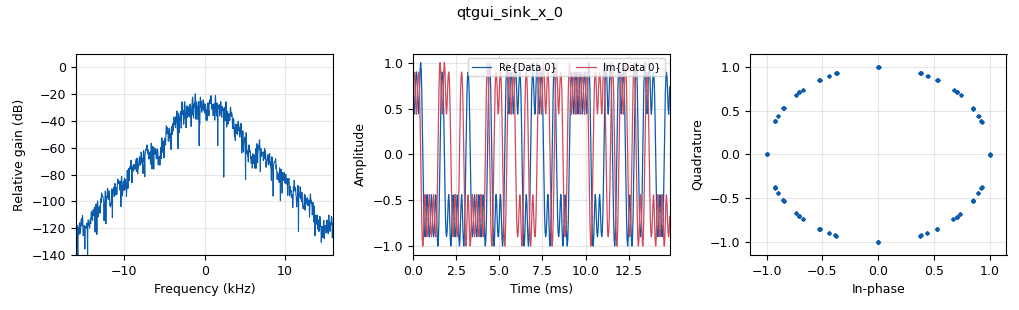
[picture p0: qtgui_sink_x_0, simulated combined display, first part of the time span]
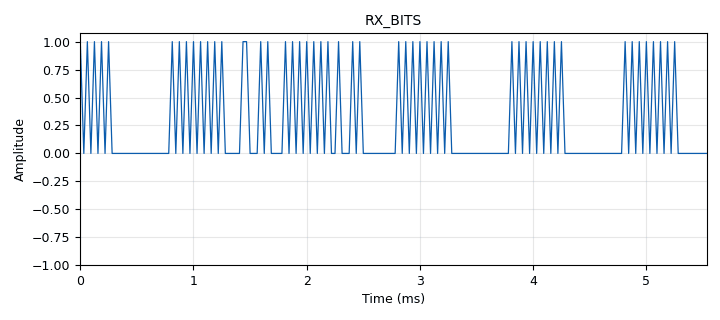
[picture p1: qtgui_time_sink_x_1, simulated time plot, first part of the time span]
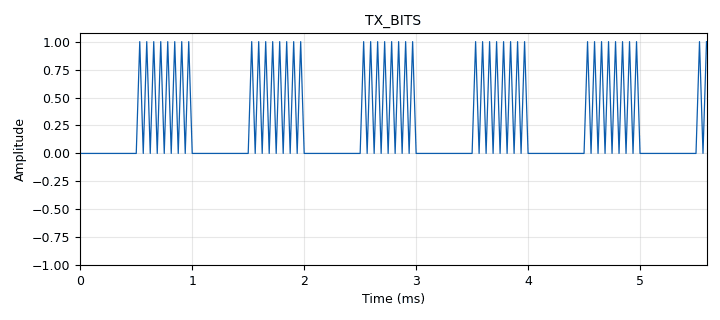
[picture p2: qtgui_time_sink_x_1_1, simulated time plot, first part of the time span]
<?xml version='1.0' encoding='utf-8'?>
<?grc format='1' created='3.7.13'?>
<flow_graph>
<block>
<key>options</key>
<param><key>id</key><value>gfsk_loopback</value></param>
<param><key>category</key><value>Custom</value></param>
<param><key>generate_options</key><value>qt_gui</value></param>
</block>
<block>
<key>variable_tpc_decoder_def</key>
<param><key>id</key><value>dec</value></param>
<param><key>bval</key><value>9</value></param>
<param><key>col_poly</key><value>[43]</value></param>
<param><key>decoder_type</key><value>0</value></param>
<param><key>kcol</key><value>6</value></param>
<param><key>krow</key><value>26</value></param>
<param><key>max_iter</key><value>6</value></param>
<param><key>ndim</key><value>0</value></param>
<param><key>qval</key><value>3</value></param>
<param><key>row_poly</key><value>[3]</value></param>
</block>
<block>
<key>variable_tpc_encoder_def</key>
<param><key>id</key><value>enc</value></param>
<param><key>bval</key><value>9</value></param>
<param><key>col_poly</key><value>[43]</value></param>
<param><key>kcol</key><value>6</value></param>
<param><key>krow</key><value>26</value></param>
<param><key>ndim</key><value>0</value></param>
<param><key>qval</key><value>3</value></param>
<param><key>row_poly</key><value>[3]</value></param>
</block>
<block>
<key>variable_qtgui_range</key>
<param><key>id</key><value>fm_sensitivity</value></param>
<param><key>value</key><value>1</value></param>
<param><key>orient</key><value>Qt.Horizontal</value></param>
<param><key>start</key><value>0</value></param>
<param><key>step</key><value>0.01</value></param>
<param><key>stop</key><value>10</value></param>
</block>
<block>
<key>variable</key>
<param><key>id</key><value>samp_rate</value></param>
<param><key>value</key><value>32000</value></param>
</block>
<block>
<key>variable</key>
<param><key>id</key><value>sps</value></param>
<param><key>value</key><value>8</value></param>
</block>
<block>
<key>blocks_char_to_float</key>
<param><key>id</key><value>blocks_char_to_float_0</value></param>
<param><key>scale</key><value>1</value></param>
</block>
<block>
<key>blocks_char_to_float</key>
<param><key>id</key><value>blocks_char_to_float_0_0</value></param>
<param><key>scale</key><value>1</value></param>
</block>
<block>
<key>blocks_char_to_float</key>
<param><key>id</key><value>blocks_char_to_float_0_1</value></param>
<param><key>scale</key><value>1</value></param>
</block>
<block>
<key>blocks_pack_k_bits_bb</key>
<param><key>id</key><value>blocks_pack_k_bits_bb_0</value></param>
<param><key>k</key><value>8</value></param>
</block>
<block>
<key>blocks_throttle</key>
<param><key>id</key><value>blocks_throttle_0_0</value></param>
<param><key>samples_per_second</key><value>samp_rate</value></param>
<param><key>type</key><value>complex</value></param>
</block>
<block>
<key>blocks_unpack_k_bits_bb</key>
<param><key>id</key><value>blocks_unpack_k_bits_bb_0</value></param>
<param><key>k</key><value>8</value></param>
</block>
<block>
<key>blocks_vector_source_x</key>
<param><key>id</key><value>blocks_vector_source_x_0</value></param>
<param><key>type</key><value>byte</value></param>
<param><key>repeat</key><value>True</value></param>
<param><key>vector</key><value>(0, 0, 0x55, 0x55)</value></param>
</block>
<block>
<key>digital_descrambler_bb</key>
<param><key>id</key><value>digital_descrambler_bb_0</value></param>
<param><key>len</key><value>7</value></param>
<param><key>mask</key><value>0x8A</value></param>
<param><key>seed</key><value>0x7F</value></param>
</block>
<block>
<key>digital_gmsk_demod</key>
<param><key>id</key><value>digital_gmsk_demod_0</value></param>
<param><key>freq_error</key><value>0.0</value></param>
<param><key>gain_mu</key><value>0.175</value></param>
<param><key>mu</key><value>0.5</value></param>
<param><key>omega_relative_limit</key><value>0.005</value></param>
<param><key>samples_per_symbol</key><value>4</value></param>
</block>
<block>
<key>digital_gmsk_mod</key>
<param><key>id</key><value>digital_gmsk_mod_0</value></param>
<param><key>bt</key><value>0.35</value></param>
<param><key>samples_per_symbol</key><value>4</value></param>
</block>
<block>
<key>digital_map_bb</key>
<param><key>id</key><value>digital_map_bb_0</value></param>
<param><key>map</key><value>[-1, 1]</value></param>
</block>
<block>
<key>digital_scrambler_bb</key>
<param><key>id</key><value>digital_scrambler_bb_0</value></param>
<param><key>len</key><value>7</value></param>
<param><key>mask</key><value>0x8A</value></param>
<param><key>seed</key><value>0x7F</value></param>
</block>
<block>
<key>fec_extended_decoder</key>
<param><key>id</key><value>fec_extended_decoder_0</value></param>
<param><key>decoder_list</key><value>dec</value></param>
<param><key>puncpat</key><value>'11'</value></param>
<param><key>threadtype</key><value>none</value></param>
</block>
<block>
<key>fec_extended_encoder</key>
<param><key>id</key><value>fec_extended_encoder_0</value></param>
<param><key>encoder_list</key><value>enc</value></param>
<param><key>puncpat</key><value>'11'</value></param>
<param><key>threadtype</key><value>none</value></param>
</block>
<block>
<key>qtgui_sink_x</key>
<param><key>id</key><value>qtgui_sink_x_0</value></param>
<param><key>bw</key><value>samp_rate</value></param>
<param><key>fc</key><value>0</value></param>
<param><key>freqchangevar</key><value>None</value></param>
<param><key>fftsize</key><value>1024</value></param>
<param><key>showports</key><value>True</value></param>
<param><key>type</key><value>complex</value></param>
<param><key>wintype</key><value>firdes.WIN_BLACKMAN_hARRIS</value></param>
</block>
<block>
<key>qtgui_time_sink_x</key>
<param><key>id</key><value>qtgui_time_sink_x_1</value></param>
<param><key>color1</key><value>"blue"</value></param>
<param><key>label1</key><value></value></param>
<param><key>name</key><value>RX_BITS</value></param>
<param><key>size</key><value>1024</value></param>
<param><key>srate</key><value>samp_rate</value></param>
<param><key>type</key><value>float</value></param>
</block>
<block>
<key>qtgui_time_sink_x</key>
<param><key>id</key><value>qtgui_time_sink_x_1_1</value></param>
<param><key>color1</key><value>"blue"</value></param>
<param><key>label1</key><value></value></param>
<param><key>name</key><value>TX_BITS</value></param>
<param><key>size</key><value>1024</value></param>
<param><key>srate</key><value>samp_rate</value></param>
<param><key>type</key><value>float</value></param>
</block>
<connection><source_block_id>blocks_char_to_float_0</source_block_id><sink_block_id>qtgui_time_sink_x_1_1</sink_block_id><source_key>0</source_key><sink_key>0</sink_key></connection>
<connection><source_block_id>blocks_char_to_float_0_0</source_block_id><sink_block_id>qtgui_time_sink_x_1</sink_block_id><source_key>0</source_key><sink_key>0</sink_key></connection>
<connection><source_block_id>blocks_char_to_float_0_1</source_block_id><sink_block_id>fec_extended_decoder_0</sink_block_id><source_key>0</source_key><sink_key>0</sink_key></connection>
<connection><source_block_id>blocks_pack_k_bits_bb_0</source_block_id><sink_block_id>digital_gmsk_mod_0</sink_block_id><source_key>0</source_key><sink_key>0</sink_key></connection>
<connection><source_block_id>blocks_throttle_0_0</source_block_id><sink_block_id>digital_gmsk_demod_0</sink_block_id><source_key>0</source_key><sink_key>0</sink_key></connection>
<connection><source_block_id>blocks_throttle_0_0</source_block_id><sink_block_id>qtgui_sink_x_0</sink_block_id><source_key>0</source_key><sink_key>0</sink_key></connection>
<connection><source_block_id>blocks_unpack_k_bits_bb_0</source_block_id><sink_block_id>blocks_char_to_float_0</sink_block_id><source_key>0</source_key><sink_key>0</sink_key></connection>
<connection><source_block_id>blocks_unpack_k_bits_bb_0</source_block_id><sink_block_id>digital_scrambler_bb_0</sink_block_id><source_key>0</source_key><sink_key>0</sink_key></connection>
<connection><source_block_id>blocks_vector_source_x_0</source_block_id><sink_block_id>blocks_unpack_k_bits_bb_0</sink_block_id><source_key>0</source_key><sink_key>0</sink_key></connection>
<connection><source_block_id>digital_descrambler_bb_0</source_block_id><sink_block_id>blocks_char_to_float_0_0</sink_block_id><source_key>0</source_key><sink_key>0</sink_key></connection>
<connection><source_block_id>digital_gmsk_demod_0</source_block_id><sink_block_id>digital_map_bb_0</sink_block_id><source_key>0</source_key><sink_key>0</sink_key></connection>
<connection><source_block_id>digital_gmsk_mod_0</source_block_id><sink_block_id>blocks_throttle_0_0</sink_block_id><source_key>0</source_key><sink_key>0</sink_key></connection>
<connection><source_block_id>digital_map_bb_0</source_block_id><sink_block_id>blocks_char_to_float_0_1</sink_block_id><source_key>0</source_key><sink_key>0</sink_key></connection>
<connection><source_block_id>digital_scrambler_bb_0</source_block_id><sink_block_id>fec_extended_encoder_0</sink_block_id><source_key>0</source_key><sink_key>0</sink_key></connection>
<connection><source_block_id>fec_extended_decoder_0</source_block_id><sink_block_id>digital_descrambler_bb_0</sink_block_id><source_key>0</source_key><sink_key>0</sink_key></connection>
<connection><source_block_id>fec_extended_encoder_0</source_block_id><sink_block_id>blocks_pack_k_bits_bb_0</sink_block_id><source_key>0</source_key><sink_key>0</sink_key></connection>
</flow_graph>
